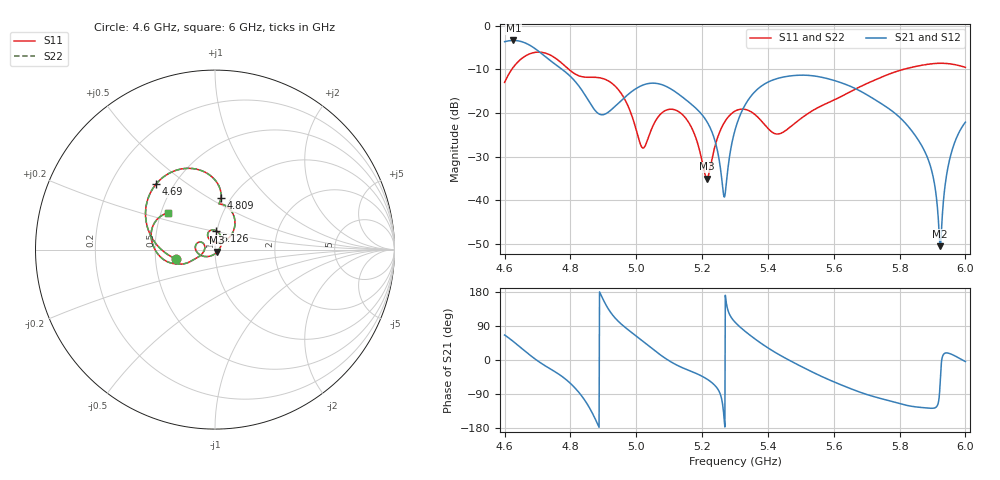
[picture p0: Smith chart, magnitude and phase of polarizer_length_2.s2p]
! TOUCHSTONE file generated by CST MICROWAVE STUDIO
! Date and time: Sun Dec  1 17:16:57 2024
! Project name: test_tuning.cst
! Parameters = {airCoaxOuterDiameter=3; chamferAngle=45; chamferWidth=24; connectorLength=10; drillingHoleDiameter=4.1; feedLength=60; flareDiameter=130; flareLength=70; gratingDistance=0; gratingGap=1.90274; outletLength=30; polarizerLength=66; probe1Diameter=1.3; probe1Distance=14; probe1Length=12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
! Header version: 2024
! Port assignment regex: !\s*Touchstone port\s*([0-9]+)\s*=\s*(CST MWS port|CST DES external port|CST DES block port)\s*(.+)\s* \(\"(.*)\"\)(\s*mode\s*([0-9]+))?.*
! Touchstone port assignment:
! Touchstone port 1 = CST MWS port 1 ("Input1")
! Touchstone port 2 = CST MWS port 2 ("Input2")
# GHz S MA R 50
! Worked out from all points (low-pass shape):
!   1001 points, 4.6 GHz to 6 GHz, reference 50 ohm
!   highest |S21| = -3.42 dB at 4.627 GHz (marker M1); lowest = -50.5 dB at 5.923 GHz (marker M2)
!   |S21| within 3 dB of the highest: start of sweep to 4.712 GHz
!   lowest |S11| = -35.0 dB at 5.215 GHz (marker M3), VSWR 1.04, Z = 51.2 - j1.29 ohm
!   |S11| at or under -10 dB: start of sweep to 4.622027 GHz; 4.795 GHz to 5.813 GHz (1.018 GHz wide, 19.2 % of centre)
!   |S22| runs from -35.0 to -6.1 dB; largest |S21 - S12| = 6.9e-07
!   S11 on the Smith chart (normalised r, x): 4.6 GHz: 0.64, -0.07; 4.69 GHz: 0.40, +0.38; 4.809 GHz: 0.90, +0.56; 5.126 GHz: 0.99, +0.21; 6 GHz: 0.54, +0.25
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4.6  0.2235 -166.8  0.6534 66.0  0.6534 66.0  0.2235 -166.8
4.6266  0.334 173.7  0.6748 48.7  0.6748 48.7  0.334 173.7
4.6896  0.4908 132.2  0.5538 4.5  0.5538 4.5  0.4908 132.2
4.8086  0.2879 83.5  0.2427 -69.1  0.2427 -69.1  0.2879 83.5
4.8338  0.2603 84.8  0.1843 -94.4  0.1843 -94.4  0.2603 84.8
4.8898  0.2521 76.7  0.09627 177.2  0.09627 177.2  0.2521 76.7
4.943  0.1898 54.1  0.1266 104.1  0.1266 104.1  0.1898 54.1
5.02  0.03969 81.1  0.2084 49.2  0.2084 49.2  0.03969 81.1
5.0676  0.09132 116.8  0.2158 17.1  0.2158 17.1  0.09133 116.8
5.1264  0.1049 86.4  0.1665 -14.8  0.1665 -14.8  0.1049 86.4
5.1726  0.06251 53.7  0.1211 -32.0  0.1211 -32.0  0.06251 53.7
5.2146  0.01773 -45.2  0.07966 -50.3  0.07966 -50.3  0.01773 -45.2
5.2678  0.07805 -152.7  0.01093 -162.9  0.01093 -162.9  0.07805 -152.7
5.3  0.105 -175.9  0.06364 99.9  0.06364 99.9  0.105 -175.9
5.3812  0.08028 151.2  0.2043 42.9  0.2043 42.9  0.08028 151.2
5.4344  0.05772 176.8  0.2512 13.8  0.2512 13.8  0.05772 176.8
5.5338  0.1054 -155.9  0.2669 -31.3  0.2669 -31.3  0.1054 -155.9
5.7676  0.2777 -166.4  0.1119 -107.4  0.1119 -107.4  0.2777 -166.4
5.8824  0.3587 170.9  0.03246 -126.6  0.03246 -126.6  0.3587 170.9
5.923  0.3702 160.8  0.002998 -64.2  0.002998 -64.2  0.3702 160.8
5.9524  0.3647 153.1  0.0297 17.0  0.0297 17.0  0.3647 153.1
6  0.3328 141.9  0.07849 -4.0  0.07849 -4.0  0.3328 141.9
